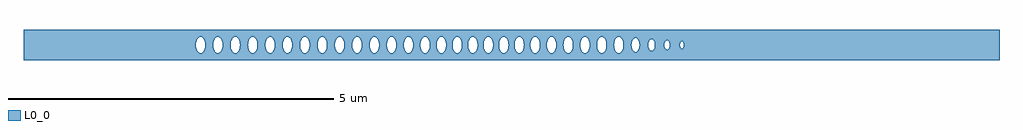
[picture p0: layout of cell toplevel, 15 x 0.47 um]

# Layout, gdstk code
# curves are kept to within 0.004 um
import gdstk
lib = gdstk.Library(unit=1e-6, precision=1e-09)
def P(c, l, *ps):  # polygons
    for p in ps: c.add(gdstk.Polygon(p, *l))
L0_0 = (0, 0)

toplevel = lib.new_cell('toplevel')
P(toplevel, L0_0, [(-4.314,0.032),(-4.306,0.068),(-4.283,0.108),(-4.283,0.234),(-7.5,0.234),(-7.5,-0.016),(-4.851,-0.016),(-4.848,0.039),(-4.835,0.081),(-4.806,0.119),(-4.779,0.128),(-4.752,0.119),(-4.729,0.093),(-4.713,0.054),(-4.707,-0.008),(-4.584,-0.008),(-4.579,0.047),(-4.561,0.093),(-4.538,0.119),(-4.512,0.128),(-4.485,0.119),(-4.465,0.098),(-4.45,0.068),(-4.439,0.008),(-4.444,-0.047),(-4.462,-0.093),(-4.485,-0.119),(-4.512,-0.128),(-4.538,-0.119),(-4.558,-0.098),(-4.573,-0.068),(-4.584,-0.008),(-4.707,-0.008),(-4.713,-0.054),(-4.729,-0.093),(-4.752,-0.119),(-4.779,-0.128),(-4.806,-0.119),(-4.825,-0.098),(-4.84,-0.068),(-4.851,-0.016),(-7.5,-0.016),(-7.5,-0.234),(-4.283,-0.234),(-4.283,-0.108),(-4.312,-0.047),(-4.317,-0.008)],
  [(-4.275,0.115),(-4.244,0.128),(-4.209,0.112),(-4.183,0.068),(-4.172,0),(-4.05,0),(-4.043,0.054),(-4.027,0.093),(-4.004,0.119),(-3.977,0.128),(-3.964,0.125),(-3.938,0.108),(-3.921,0.081),(-3.908,0.039),(-3.905,-0.016),(-3.916,-0.068),(-3.931,-0.098),(-3.95,-0.119),(-3.977,-0.128),(-4.004,-0.119),(-4.027,-0.093),(-4.043,-0.054),(-4.05,0),(-4.172,0),(-4.183,-0.068),(-4.209,-0.112),(-4.244,-0.128),(-4.271,-0.119),(-4.283,-0.108),(-4.283,-0.234),(-3.71,-0.234),(-3.71,-0.128),(-3.737,-0.119),(-3.756,-0.098),(-3.771,-0.068),(-3.782,-0.016),(-3.779,0.039),(-3.766,0.081),(-3.737,0.119),(-3.71,0.128),(-3.71,0.234),(-4.283,0.234),(-4.283,0.108)],
  [(-3.71,0.234),(-3.71,0.128),(-3.683,0.119),(-3.66,0.093),(-3.644,0.054),(-3.638,-0.008),(-3.515,-0.008),(-3.512,0.039),(-3.492,0.093),(-3.469,0.119),(-3.443,0.128),(-3.416,0.119),(-3.396,0.098),(-3.379,0.061),(-3.37,0.008),(-3.375,-0.047),(-3.393,-0.093),(-3.416,-0.119),(-3.443,-0.128),(-3.469,-0.119),(-3.489,-0.098),(-3.504,-0.068),(-3.515,-0.008),(-3.638,-0.008),(-3.644,-0.054),(-3.66,-0.093),(-3.683,-0.119),(-3.71,-0.128),(-3.71,-0.234),(-3.108,-0.234),(-3.108,-0.047),(-3.126,-0.093),(-3.141,-0.112),(-3.162,-0.125),(-3.189,-0.125),(-3.21,-0.112),(-3.225,-0.093),(-3.243,-0.047),(-3.248,-0.008),(-3.246,0.032),(-3.234,0.075),(-3.214,0.108),(-3.189,0.125),(-3.162,0.125),(-3.141,0.112),(-3.126,0.093),(-3.108,0.047),(-3.108,0.234)],
  [(-3.104,-0.016),(-3.108,-0.234),(-2.444,-0.234),(-2.444,0.234),(-3.108,0.234),(-3.108,0.044),(-3.103,0),(-2.981,0),(-2.974,0.054),(-2.958,0.093),(-2.935,0.119),(-2.908,0.128),(-2.882,0.119),(-2.855,0.087),(-2.839,0.039),(-2.836,-0.016),(-2.713,-0.016),(-2.708,0.047),(-2.697,0.081),(-2.68,0.108),(-2.668,0.119),(-2.641,0.128),(-2.614,0.119),(-2.591,0.093),(-2.577,0.061),(-2.569,-0.016),(-2.575,-0.054),(-2.591,-0.093),(-2.606,-0.112),(-2.627,-0.125),(-2.654,-0.125),(-2.68,-0.108),(-2.702,-0.068),(-2.713,-0.016),(-2.836,-0.016),(-2.847,-0.068),(-2.862,-0.098),(-2.882,-0.119),(-2.908,-0.128),(-2.935,-0.119),(-2.958,-0.093),(-2.974,-0.054),(-2.981,0),(-3.103,0)],
  [(-2.443,0.039),(-2.432,0.075),(-2.409,0.112),(-2.387,0.125),(-2.369,0.127),(-2.339,0.112),(-2.315,0.075),(-2.306,0.047),(-2.302,-0.016),(-2.179,-0.016),(-2.177,0.032),(-2.166,0.075),(-2.142,0.112),(-2.107,0.128),(-2.08,0.119),(-2.054,0.087),(-2.038,0.039),(-2.035,-0.016),(-2.046,-0.068),(-2.061,-0.098),(-2.08,-0.119),(-2.107,-0.128),(-2.134,-0.119),(-2.157,-0.093),(-2.171,-0.061),(-2.179,-0.016),(-2.302,-0.016),(-2.306,-0.047),(-2.324,-0.093),(-2.347,-0.119),(-2.374,-0.128),(-2.4,-0.119),(-2.42,-0.098),(-2.444,-0.035),(-2.444,-0.234),(-1.856,-0.234),(-1.856,-0.125),(-1.878,-0.112),(-1.896,-0.087),(-1.915,-0.016),(-1.912,0.039),(-1.899,0.081),(-1.882,0.108),(-1.856,0.125),(-1.856,0.234),(-2.444,0.234)],
  [(-1.856,0.234),(-1.856,0.125),(-1.843,0.128),(-1.816,0.119),(-1.793,0.093),(-1.777,0.054),(-1.771,-0.016),(-1.655,-0.016),(-1.652,0.039),(-1.641,0.075),(-1.618,0.112),(-1.583,0.128),(-1.556,0.119),(-1.533,0.093),(-1.515,0.047),(-1.51,0.008),(-1.515,-0.047),(-1.533,-0.093),(-1.556,-0.119),(-1.583,-0.128),(-1.609,-0.119),(-1.629,-0.098),(-1.644,-0.068),(-1.655,-0.016),(-1.771,-0.016),(-1.779,-0.061),(-1.8,-0.103),(-1.829,-0.125),(-1.856,-0.125),(-1.856,-0.234),(-1.269,-0.234),(-1.269,-0.075),(-1.301,-0.119),(-1.328,-0.128),(-1.346,-0.123),(-1.377,-0.093),(-1.389,-0.068),(-1.4,-0.016),(-1.398,0.032),(-1.389,0.068),(-1.374,0.098),(-1.354,0.119),(-1.328,0.128),(-1.301,0.119),(-1.269,0.075),(-1.269,0.234)],
  [(-1.258,-0.032),(-1.269,-0.075),(-1.269,-0.234),(-0.663,-0.234),(-0.663,0.234),(-1.269,0.234),(-1.269,0.074),(-1.255,0),(-1.151,0),(-1.146,0.047),(-1.128,0.093),(-1.105,0.119),(-1.078,0.128),(-1.052,0.119),(-1.025,0.087),(-1.009,0.039),(-1.006,-0.016),(-0.906,-0.016),(-0.901,0.047),(-0.89,0.081),(-0.873,0.108),(-0.861,0.119),(-0.834,0.128),(-0.807,0.119),(-0.784,0.093),(-0.77,0.061),(-0.762,-0.016),(-0.768,-0.054),(-0.784,-0.093),(-0.799,-0.112),(-0.82,-0.125),(-0.847,-0.125),(-0.873,-0.108),(-0.895,-0.068),(-0.906,-0.016),(-1.006,-0.016),(-1.017,-0.068),(-1.032,-0.098),(-1.052,-0.119),(-1.078,-0.128),(-1.105,-0.119),(-1.128,-0.093),(-1.146,-0.047),(-1.151,0),(-1.255,0)],
  [(-0.663,-0.234),(-0.132,-0.234),(-0.132,-0.125),(-0.153,-0.112),(-0.168,-0.093),(-0.186,-0.047),(-0.191,-0.008),(-0.189,0.032),(-0.177,0.075),(-0.157,0.108),(-0.132,0.125),(-0.132,0.234),(-0.663,0.234),(-0.663,0.039),(-0.652,0.075),(-0.629,0.112),(-0.607,0.125),(-0.58,0.125),(-0.555,0.108),(-0.535,0.075),(-0.526,0.047),(-0.522,-0.016),(-0.428,-0.016),(-0.425,0.039),(-0.412,0.081),(-0.391,0.112),(-0.356,0.128),(-0.329,0.119),(-0.306,0.093),(-0.29,0.054),(-0.283,0),(-0.29,-0.054),(-0.306,-0.093),(-0.329,-0.119),(-0.356,-0.128),(-0.382,-0.119),(-0.402,-0.098),(-0.417,-0.068),(-0.428,-0.016),(-0.522,-0.016),(-0.526,-0.047),(-0.544,-0.093),(-0.567,-0.119),(-0.594,-0.128),(-0.62,-0.119),(-0.64,-0.098),(-0.663,-0.04)],
  [(-0.123,0.127),(-0.092,0.119),(-0.069,0.093),(-0.051,0.047),(-0.047,-0.016),(0.048,-0.016),(0.051,0.039),(0.064,0.081),(0.085,0.112),(0.12,0.128),(0.147,0.119),(0.17,0.093),(0.188,0.047),(0.193,0),(0.188,-0.047),(0.17,-0.093),(0.147,-0.119),(0.12,-0.128),(0.094,-0.119),(0.074,-0.098),(0.059,-0.068),(0.048,-0.016),(-0.047,-0.016),(-0.057,-0.068),(-0.072,-0.098),(-0.096,-0.121),(-0.119,-0.128),(-0.132,-0.125),(-0.132,-0.234),(0.399,-0.234),(0.399,-0.112),(0.364,-0.128),(0.329,-0.112),(0.308,-0.081),(0.292,-0.016),(0.297,0.047),(0.308,0.081),(0.325,0.108),(0.364,0.128),(0.399,0.112),(0.399,0.234),(-0.132,0.234),(-0.132,0.125)],
  [(1.057,-0.008),(1.058,0.234),(0.399,0.234),(0.399,0.112),(0.428,0.061),(0.436,-0.008),(0.543,-0.008),(0.546,0.039),(0.566,0.093),(0.589,0.119),(0.615,0.128),(0.642,0.119),(0.665,0.093),(0.683,0.047),(0.688,-0.008),(0.799,-0.008),(0.804,0.047),(0.822,0.093),(0.845,0.119),(0.872,0.128),(0.898,0.119),(0.918,0.098),(0.933,0.068),(0.944,0.008),(0.939,-0.047),(0.921,-0.093),(0.898,-0.119),(0.872,-0.128),(0.845,-0.119),(0.825,-0.098),(0.81,-0.068),(0.799,-0.008),(0.688,-0.008),(0.683,-0.047),(0.665,-0.093),(0.642,-0.119),(0.615,-0.128),(0.589,-0.119),(0.569,-0.098),(0.554,-0.068),(0.543,-0.008),(0.436,-0.008),(0.428,-0.061),(0.399,-0.112),(0.399,-0.234),(1.058,-0.234)],
  [(1.576,0.016),(1.582,0.054),(1.598,0.093),(1.613,0.112),(1.634,0.125),(1.634,0.234),(1.058,0.234),(1.058,0.024),(1.068,0.068),(1.083,0.098),(1.103,0.119),(1.129,0.128),(1.156,0.119),(1.179,0.093),(1.197,0.047),(1.202,-0.008),(1.315,-0.008),(1.32,0.047),(1.338,0.093),(1.361,0.119),(1.387,0.128),(1.414,0.119),(1.434,0.098),(1.449,0.068),(1.46,0.008),(1.455,-0.047),(1.437,-0.093),(1.414,-0.119),(1.387,-0.128),(1.361,-0.119),(1.341,-0.098),(1.326,-0.068),(1.315,-0.008),(1.202,-0.008),(1.191,-0.068),(1.176,-0.098),(1.156,-0.119),(1.129,-0.128),(1.103,-0.119),(1.083,-0.098),(1.068,-0.068),(1.058,-0.027),(1.058,-0.234),(1.634,-0.234),(1.634,-0.125),(1.609,-0.108),(1.589,-0.075),(1.579,-0.039)],
  [(1.643,0.127),(1.675,0.119),(1.701,0.087),(1.717,0.039),(1.72,-0.014),(1.844,-0.014),(1.847,0.034),(1.858,0.07),(1.883,0.102),(1.906,0.11),(1.929,0.102),(1.949,0.08),(1.964,0.04),(1.968,-0.014),(1.961,-0.053),(1.949,-0.08),(1.929,-0.102),(1.906,-0.11),(1.883,-0.102),(1.866,-0.084),(1.85,-0.047),(1.844,-0.014),(1.72,-0.014),(1.709,-0.068),(1.687,-0.108),(1.661,-0.125),(1.634,-0.125),(1.634,-0.234),(2.163,-0.234),(2.163,-0.09),(2.141,-0.089),(2.12,-0.071),(2.102,-0.017),(2.105,0.034),(2.12,0.071),(2.141,0.089),(2.163,0.09),(2.163,0.234),(1.634,0.234),(1.634,0.125)],
  [(2.205,-0.017),(2.192,-0.063),(2.163,-0.09),(2.163,-0.234),(7.5,-0.234),(7.5,0.234),(2.163,0.234),(2.163,0.09),(2.192,0.063),(2.206,0),(2.348,0),(2.358,0.047),(2.372,0.067),(2.388,0.074),(2.408,0.067),(2.419,0.054),(2.432,-0.003),(2.588,-0.003),(2.598,0.041),(2.618,0.056),(2.639,0.045),(2.651,0.014),(2.646,-0.033),(2.626,-0.055),(2.614,-0.055),(2.598,-0.041),(2.588,-0.003),(2.432,-0.003),(2.423,-0.047),(2.408,-0.067),(2.393,-0.074),(2.372,-0.067),(2.362,-0.054),(2.348,0),(2.206,0)])

lib.write_gds('toplevel.gds')
